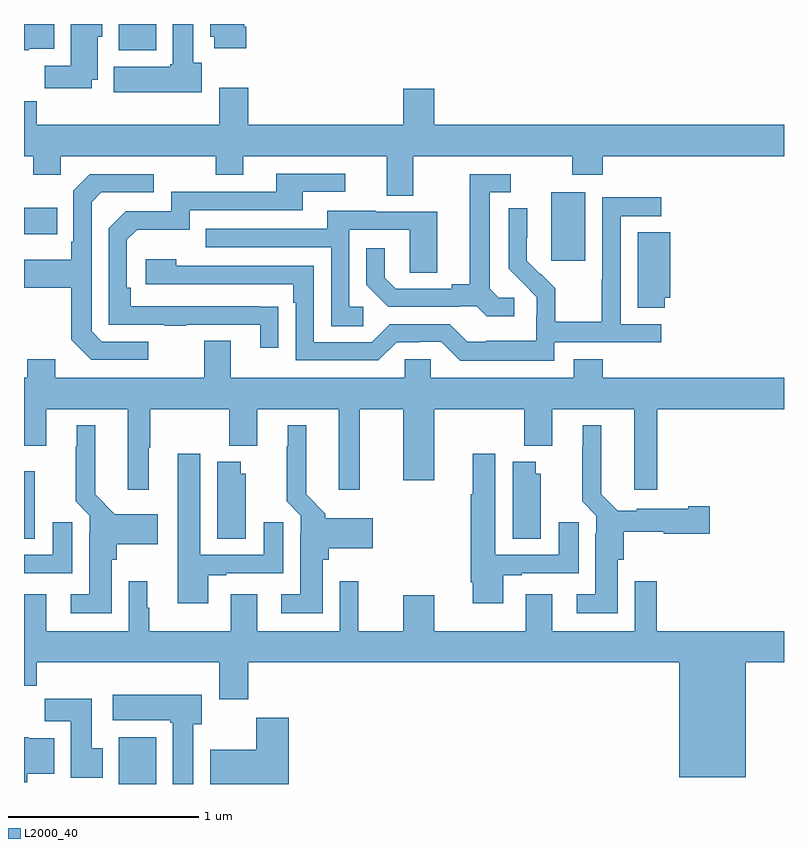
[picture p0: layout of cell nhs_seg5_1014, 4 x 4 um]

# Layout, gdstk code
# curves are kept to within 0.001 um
import gdstk
lib = gdstk.Library(unit=1e-6, precision=1e-09)
def R(c, l, rs):  # rectangles x0, y0, x1, y1
    for r in rs: c.add(gdstk.rectangle(r[:2], r[2:], *l))
def P(c, l, *ps):  # polygons
    for p in ps: c.add(gdstk.Polygon(p, *l))
L2000_40 = (2000, 40)

nhs_seg5_1014 = lib.new_cell('nhs_seg5_1014')
R(nhs_seg5_1014, L2000_40, [(175.499,842.799,175.695,843.046), (175,844.09,175.057,844.444), (177.776,845.553,177.955,845.914), (175,845.693,175.175,845.833), (175.499,846.662,175.696,846.799)])
P(nhs_seg5_1014, L2000_40, [(176.171,846.784),(176.158,846.784),(176.158,846.799),(175.979,846.799),(175.979,846.732),(176,846.732),(176,846.672),(176.171,846.672)],
  [(175.026,846.668),(175.159,846.668),(175.159,846.799),(175,846.799),(175,846.662),(175.026,846.662)],
  [(175.357,846.506),(175.387,846.506),(175.387,846.732),(175.411,846.732),(175.411,846.799),(175.247,846.799),(175.247,846.58),(175.108,846.58),(175.108,846.462),(175.357,846.462)],
  [(175.936,846.594),(175.891,846.594),(175.891,846.799),(175.784,846.799),(175.784,846.588),(175.771,846.588),(175.771,846.574),(175.472,846.574),(175.472,846.44),(175.936,846.44)],
  [(175,846.104),(175.048,846.104),(175.048,846.005),(175.194,846.005),(175.194,846.104),(176.008,846.104),(176.008,846.005),(176.155,846.005),(176.155,846.104),(176.909,846.104),(176.909,845.896),(177.049,845.896),(177.049,846.104),(177.886,846.104),(177.886,846.005),(178.046,846.005),(178.046,846.104),(179,846.104),(179,846.268),(177.16,846.268),(177.16,846.457),(176.996,846.457),(176.996,846.268),(176.18,846.268),(176.18,846.463),(176.027,846.463),(176.027,846.268),(175.067,846.268),(175.067,846.392),(175,846.392)],
  [(176.339,845.312),(175.562,845.313),(175.562,845.41),(175.542,845.41),(175.542,845.664),(175.595,845.717),(175.872,845.717),(175.872,845.82),(176.467,845.82),(176.467,845.916),(176.692,845.916),(176.692,846.012),(176.327,846.012),(176.327,845.916),(175.776,845.916),(175.776,845.814),(175.536,845.814),(175.446,845.724),(175.446,845.217),(175.741,845.217),(175.741,845.212),(175.853,845.212),(175.853,845.217),(176.243,845.217),(176.243,845.094),(176.339,845.094)],
  [(175.654,845.127),(175.41,845.127),(175.356,845.181),(175.356,845.862),(175.407,845.913),(175.684,845.913),(175.684,846.009),(175.347,846.009),(175.26,845.922),(175.26,845.653),(175.248,845.653),(175.248,845.557),(175,845.557),(175,845.41),(175.248,845.41),(175.248,845.137),(175.353,845.031),(175.654,845.031)],
  [(177.58,845.358),(177.498,845.358),(177.451,845.405),(177.451,845.913),(177.562,845.913),(177.562,846.009),(177.347,846.009),(177.347,845.429),(177.251,845.429),(177.251,845.406),(176.956,845.406),(176.899,845.463),(176.899,845.62),(176.802,845.62),(176.802,845.426),(176.918,845.31),(177.29,845.31),(177.29,845.313),(177.384,845.313),(177.436,845.261),(177.58,845.261)],
  [(177.792,845.124),(178.354,845.124),(178.354,845.22),(178.14,845.22),(178.14,845.787),(178.354,845.787),(178.354,845.886),(178.044,845.886),(178.044,845.456),(178.042,845.456),(178.042,845.233),(177.797,845.233),(177.797,845.407),(177.72,845.484),(177.717,845.481),(177.647,845.552),(177.648,845.828),(177.552,845.828),(177.552,845.51),(177.698,845.362),(177.698,845.265),(177.696,845.265),(177.696,845.131),(177.433,845.131),(177.433,845.127),(177.333,845.127),(177.24,845.22),(176.925,845.22),(176.829,845.124),(176.526,845.124),(176.526,845.526),(175.802,845.526),(175.802,845.56),(175.641,845.56),(175.641,845.43),(176.417,845.43),(176.417,845.333),(176.43,845.333),(176.43,845.028),(176.865,845.028),(176.961,845.124),(177.08,845.124),(177.08,845.127),(177.195,845.127),(177.295,845.027),(177.792,845.027)],
  [(176.785,845.31),(176.712,845.31),(176.712,845.715),(177.03,845.715),(177.03,845.491),(177.175,845.491),(177.175,845.811),(176.851,845.811),(176.851,845.815),(176.597,845.815),(176.597,845.721),(175.957,845.721),(175.957,845.625),(176.616,845.625),(176.616,845.209),(176.785,845.209)],
  [(178.373,845.358),(178.4,845.358),(178.4,845.702),(178.229,845.702),(178.229,845.305),(178.373,845.305)],
  [(175.657,844.568),(175.665,844.568),(175.665,844.772),(176.08,844.772),(176.08,844.58),(176.227,844.58),(176.227,844.772),(176.657,844.772),(176.657,844.347),(176.767,844.347),(176.767,844.772),(176.996,844.772),(176.996,844.398),(177.16,844.398),(177.16,844.772),(177.634,844.772),(177.634,844.58),(177.781,844.58),(177.781,844.772),(178.211,844.772),(178.211,844.347),(178.334,844.347),(178.334,844.772),(179,844.772),(179,844.936),(178.046,844.936),(178.046,845.035),(177.893,845.035),(177.893,844.936),(177.141,844.936),(177.141,845.034),(177.003,845.034),(177.003,844.936),(176.089,844.936),(176.089,845.131),(175.949,845.131),(175.949,844.936),(175.165,844.936),(175.165,845.035),(175.018,845.035),(175.018,844.936),(175,844.936),(175,844.578),(175.117,844.578),(175.117,844.772),(175.547,844.772),(175.547,844.347),(175.657,844.347)],
  [(178.126,843.978),(178.157,843.978),(178.157,844.127),(178.368,844.127),(178.368,844.115),(178.609,844.115),(178.609,844.262),(178.496,844.262),(178.496,844.249),(178.224,844.249),(178.224,844.237),(178.125,844.237),(178.039,844.324),(178.039,844.687),(177.941,844.687),(177.941,844.577),(177.937,844.577),(177.937,844.286),(178.011,844.212),(178.011,844.118),(178.007,844.118),(178.007,843.799),(177.909,843.799),(177.909,843.698),(178.126,843.698)],
  [(175.462,843.978),(175.488,843.978),(175.488,844.061),(175.705,844.061),(175.705,844.219),(175.476,844.219),(175.476,844.222),(175.375,844.324),(175.375,844.687),(175.277,844.687),(175.277,844.577),(175.273,844.577),(175.273,844.286),(175.347,844.212),(175.347,844.118),(175.343,844.118),(175.343,843.799),(175.245,843.799),(175.245,843.698),(175.462,843.698)],
  [(176.572,843.978),(176.603,843.978),(176.603,844.04),(176.836,844.04),(176.836,844.198),(176.586,844.198),(176.586,844.222),(176.485,844.324),(176.485,844.687),(176.387,844.687),(176.387,844.577),(176.383,844.577),(176.383,844.286),(176.457,844.212),(176.457,844.118),(176.453,844.118),(176.453,843.799),(176.355,843.799),(176.355,843.698),(176.572,843.698)],
  [(175.969,843.897),(176.065,843.897),(176.065,843.909),(176.365,843.909),(176.365,844.177),(176.261,844.177),(176.261,844.005),(175.927,844.005),(175.927,844.537),(175.808,844.537),(175.808,843.75),(175.969,843.75)],
  [(177.523,843.897),(177.619,843.897),(177.619,843.909),(177.919,843.909),(177.919,844.177),(177.815,844.177),(177.815,844.005),(177.481,844.005),(177.481,844.537),(177.362,844.537),(177.362,844.324),(177.35,844.324),(177.35,843.862),(177.362,843.862),(177.362,843.75),(177.523,843.75)],
  [(176.167,844.431),(176.14,844.431),(176.14,844.495),(176.018,844.495),(176.018,844.09),(176.167,844.09)],
  [(177.721,844.431),(177.694,844.431),(177.694,844.495),(177.572,844.495),(177.572,844.09),(177.721,844.09)],
  [(175.255,844.177),(175.151,844.177),(175.151,844.005),(175,844.005),(175,843.909),(175.255,843.909)],
  [(178.331,843.865),(178.215,843.865),(178.215,843.604),(177.781,843.604),(177.781,843.799),(177.641,843.799),(177.641,843.604),(177.16,843.604),(177.16,843.793),(176.996,843.793),(176.996,843.604),(176.76,843.604),(176.76,843.865),(176.661,843.865),(176.661,843.604),(176.227,843.604),(176.227,843.799),(176.087,843.799),(176.087,843.604),(175.66,843.604),(175.66,843.726),(175.648,843.726),(175.648,843.865),(175.551,843.865),(175.551,843.604),(175.117,843.604),(175.117,843.799),(175,843.799),(175,843.316),(175.067,843.316),(175.067,843.44),(176.027,843.44),(176.027,843.246),(176.18,843.246),(176.18,843.44),(178.448,843.44),(178.448,842.834),(178.798,842.834),(178.798,843.44),(179,843.44),(179,843.604),(178.331,843.604)],
  [(175.891,843.114),(175.936,843.114),(175.936,843.268),(175.467,843.268),(175.467,843.134),(175.771,843.134),(175.771,843.121),(175.784,843.121),(175.784,842.799),(175.891,842.799)],
  [(175.414,842.988),(175.357,842.988),(175.357,843.247),(175.108,843.247),(175.108,843.128),(175.247,843.128),(175.247,842.832),(175.414,842.832)],
  [(176.393,843.148),(176.222,843.148),(176.222,842.98),(175.979,842.98),(175.979,842.799),(176.393,842.799)],
  [(175.018,842.852),(175.159,842.852),(175.159,843.04),(175.026,843.04),(175.026,843.046),(175,843.046),(175,842.808),(175.018,842.808)])

lib.write_gds('nhs_seg5_1014.gds')
